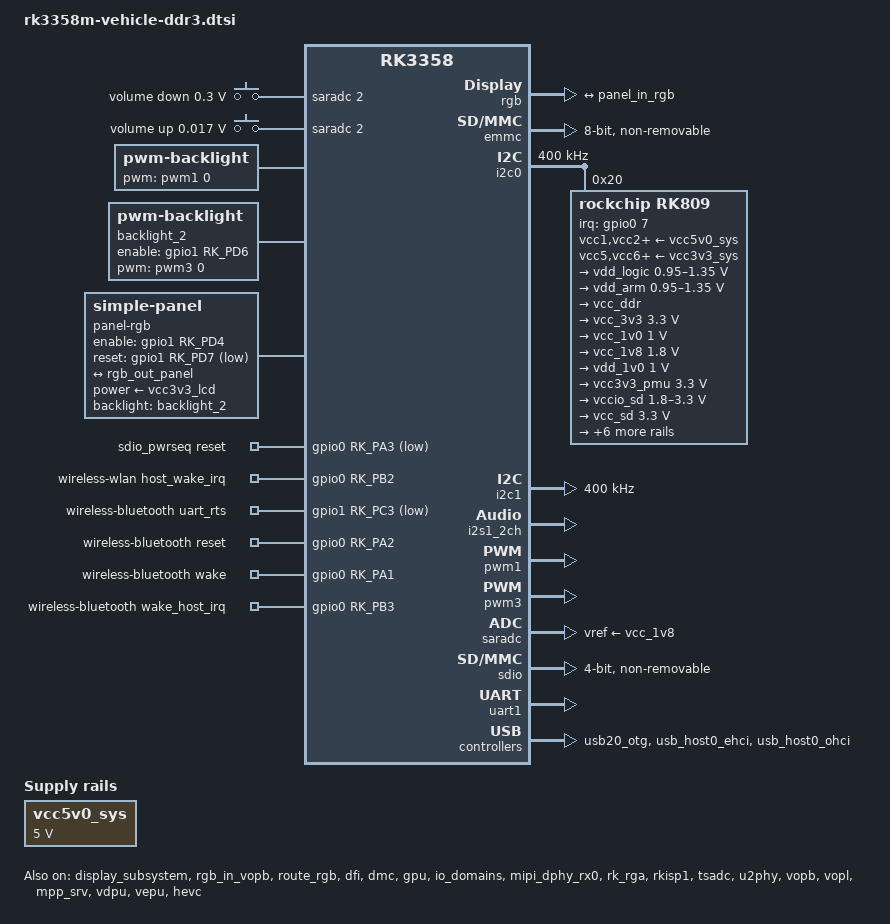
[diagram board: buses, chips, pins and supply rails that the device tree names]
// SPDX-License-Identifier: (GPL-2.0+ OR MIT)
/*
 * Copyright (c) 2022 Rockchip Electronics Co., Ltd
 *
 */

#include <dt-bindings/gpio/gpio.h>
#include <dt-bindings/pinctrl/rockchip.h>
#include <dt-bindings/input/input.h>
#include <dt-bindings/display/drm_mipi_dsi.h>
#include "rk3358.dtsi"

/ {
	adc-keys {
		compatible = "adc-keys";
		io-channels = <&saradc 2>;
		io-channel-names = "buttons";
		poll-interval = <100>;
		keyup-threshold-microvolt = <1800000>;

		vol-down-key {
			linux,code = <KEY_VOLUMEDOWN>;
			label = "volume down";
			press-threshold-microvolt = <300000>;
		};

		vol-up-key {
			linux,code = <KEY_VOLUMEUP>;
			label = "volume up";
			press-threshold-microvolt = <17000>;
		};
	};

	backlight: backlight {
		compatible = "pwm-backlight";
		pwms = <&pwm1 0 25000 0>;
		brightness-levels = <
			  0   1   2   3   4   5   6   7
			  8   9  10  11  12  13  14  15
			 16  17  18  19  20  21  22  23
			 24  25  26  27  28  29  30  31
			 32  33  34  35  36  37  38  39
			 40  41  42  43  44  45  46  47
			 48  49  50  51  52  53  54  55
			 56  57  58  59  60  61  62  63
			 64  65  66  67  68  69  70  71
			 72  73  74  75  76  77  78  79
			 80  81  82  83  84  85  86  87
			 88  89  90  91  92  93  94  95
			 96  97  98  99 100 101 102 103
			104 105 106 107 108 109 110 111
			112 113 114 115 116 117 118 119
			120 121 122 123 124 125 126 127
			128 129 130 131 132 133 134 135
			136 137 138 139 140 141 142 143
			144 145 146 147 148 149 150 151
			152 153 154 155 156 157 158 159
			160 161 162 163 164 165 166 167
			168 169 170 171 172 173 174 175
			176 177 178 179 180 181 182 183
			184 185 186 187 188 189 190 191
			192 193 194 195 196 197 198 199
			200 201 202 203 204 205 206 207
			208 209 210 211 212 213 214 215
			216 217 218 219 220 221 222 223
			224 225 226 227 228 229 230 231
			232 233 234 235 236 237 238 239
			240 241 242 243 244 245 246 247
			248 249 250 251 252 253 254 255>;
		default-brightness-level = <200>;
	};

	backlight_2: backlight-2 {
		compatible = "pwm-backlight";
		pwms = <&pwm3 0 10000000 0>;
		pinctrl-names = "default";
		pinctrl-0 = <&lcd0_pwren &lcd0_rst>;
		enable-gpios = <&gpio1 RK_PD6 GPIO_ACTIVE_HIGH>;
		brightness-levels = <
			  0   1   2   3   4   5   6   7
			  8   9  10  11  12  13  14  15
			 16  17  18  19  20  21  22  23
			 24  25  26  27  28  29  30  31
			 32  33  34  35  36  37  38  39
			 40  41  42  43  44  45  46  47
			 48  49  50  51  52  53  54  55
			 56  57  58  59  60  61  62  63
			 64  65  66  67  68  69  70  71
			 72  73  74  75  76  77  78  79
			 80  81  82  83  84  85  86  87
			 88  89  90  91  92  93  94  95
			 96  97  98  99 100 101 102 103
			104 105 106 107 108 109 110 111
			112 113 114 115 116 117 118 119
			120 121 122 123 124 125 126 127
			128 129 130 131 132 133 134 135
			136 137 138 139 140 141 142 143
			144 145 146 147 148 149 150 151
			152 153 154 155 156 157 158 159
			160 161 162 163 164 165 166 167
			168 169 170 171 172 173 174 175
			176 177 178 179 180 181 182 183
			184 185 186 187 188 189 190 191
			192 193 194 195 196 197 198 199
			200 201 202 203 204 205 206 207
			208 209 210 211 212 213 214 215
			216 217 218 219 220 221 222 223
			224 225 226 227 228 229 230 231
			232 233 234 235 236 237 238 239
			240 241 242 243 244 245 246 247
			248 249 250 251 252 253 254 255>;
		default-brightness-level = <60>;
	};

	/* The THine 827-Q (rgb to dual lvds) don't need driver */
	panel-rgb {
		compatible = "simple-panel";
		#address-cells = <1>;
		#size-cells = <0>;

		pinctrl-names = "default";
		pinctrl-0 = <&pwdn_rgb>; /* This the pwdn of THine-827-Q */
		power-supply = <&vcc3v3_lcd>;
		backlight = <&backlight_2>;
		enable-gpios = <&gpio1 RK_PD4 GPIO_ACTIVE_HIGH>;
		reset-gpios = <&gpio1 RK_PD7 GPIO_ACTIVE_LOW>;
		prepare-delay-ms = <0>;
		reset-delay-ms = <0>;
		init-delay-ms = <0>;
		enable-delay-ms = <5>;
		disable-delay-ms = <10>;
		unprepare-delay-ms = <0>;

		width-mm = <292>;
		height-mm = <109>;

		bus-format = <MEDIA_BUS_FMT_RGB888_1X24>;

		display-timings {
			native-mode = <&timing1>;

			timing1: timing1 {
				clock-frequency = <88200000>;
				hactive = <1920>;
				vactive = <720>;
				hfront-porch = <40>;
				hsync-len = <20>;
				hback-porch = <24>;
				vfront-porch = <5>;
				vsync-len = <4>;
				vback-porch = <4>;
				hsync-active = <0>;
				vsync-active = <0>;
				de-active = <0>;
				pixelclk-active = <0>;
			};
		};

		ports {
			#address-cells = <1>;
			#size-cells = <0>;

			port@0 {
				reg = <0>;
				panel_in_rgb: endpoint {
					remote-endpoint = <&rgb_out_panel>;
				};
			};
		};
	};


	rk809-sound {
		compatible = "simple-audio-card";
		simple-audio-card,format = "i2s";
		simple-audio-card,name = "rockchip,rk809-codec";
		simple-audio-card,mclk-fs = <256>;
		simple-audio-card,widgets =
			"Microphone", "Mic Jack",
			"Headphone", "Headphone Jack";
		simple-audio-card,routing =
			"Mic Jack", "MICBIAS1",
			"IN1P", "Mic Jack",
			"Headphone Jack", "HPOL",
			"Headphone Jack", "HPOR";
		simple-audio-card,cpu {
			sound-dai = <&i2s1_2ch>;
		};
		simple-audio-card,codec {
			sound-dai = <&rk809_codec>;
		};
	};

	sdio_pwrseq: sdio-pwrseq {
		compatible = "mmc-pwrseq-simple";
		pinctrl-names = "default";
		pinctrl-0 = <&wifi_enable_h>;

		/*
		 * On the module itself this is one of these (depending
		 * on the actual card populated):
		 * - SDIO_RESET_L_WL_REG_ON
		 * - PDN (power down when low)
		 */
		reset-gpios = <&gpio0 RK_PA3 GPIO_ACTIVE_LOW>;
	};

	vcc5v0_sys: vccsys {
		compatible = "regulator-fixed";
		regulator-name = "vcc5v0_sys";
		regulator-always-on;
		regulator-boot-on;
		regulator-min-microvolt = <5000000>;
		regulator-max-microvolt = <5000000>;
	};

	wireless-wlan {
		compatible = "wlan-platdata";
		wifi_chip_type = "AP6212";
		WIFI,host_wake_irq = <&gpio0 RK_PB2 GPIO_ACTIVE_HIGH>;
		status = "okay";
	};

	wireless-bluetooth {
		compatible = "bluetooth-platdata";
		clocks = <&rk809 1>;
		clock-names = "ext_clock";
		uart_rts_gpios = <&gpio1 RK_PC3 GPIO_ACTIVE_LOW>;
		pinctrl-names = "default","rts_gpio";
		pinctrl-0 = <&uart1_rts>;
		pinctrl-1 = <&uart1_rts_gpio>;
		BT,reset_gpio = <&gpio0 RK_PA2 GPIO_ACTIVE_HIGH>;
		BT,wake_gpio = <&gpio0 RK_PA1 GPIO_ACTIVE_HIGH>;
		BT,wake_host_irq = <&gpio0 RK_PB3 GPIO_ACTIVE_HIGH>;
		status = "okay";
	};
};

&display_subsystem {
	status = "okay";
};

&dsi {
	status = "disabled";

	panel@0 {
		compatible = "sitronix,st7703", "simple-panel-dsi";
		reg = <0>;

		pinctrl-names = "default";
		pinctrl-0 = <&mipi_en>;
		enable-gpios = <&gpio1 RK_PB4 GPIO_ACTIVE_HIGH>;

		backlight = <&backlight>;
		prepare-delay-ms = <0>;
		reset-delay-ms = <0>;
		init-delay-ms = <80>;
		enable-delay-ms = <0>;
		disable-delay-ms = <10>;
		unprepare-delay-ms = <60>;

		width-mm = <68>;
		height-mm = <121>;

		dsi,flags = <(MIPI_DSI_MODE_VIDEO | MIPI_DSI_MODE_VIDEO_BURST |
			      MIPI_DSI_MODE_LPM | MIPI_DSI_MODE_EOT_PACKET)>;
		dsi,format = <MIPI_DSI_FMT_RGB888>;
		dsi,lanes = <4>;

		panel-init-sequence = [
			39 00 04 ff 98 81 03
			15 00 02 01 00
			15 00 02 02 00
			15 00 02 03 53
			15 00 02 04 53
			15 00 02 05 13
			15 00 02 06 04
			15 00 02 07 02
			15 00 02 08 02
			15 00 02 09 00
			15 00 02 0a 00
			15 00 02 0b 00
			15 00 02 0c 00
			15 00 02 0d 00
			15 00 02 0e 00
			15 00 02 0f 00

			15 00 02 10 00
			15 00 02 11 00
			15 00 02 12 00
			15 00 02 13 00
			15 00 02 14 00
			15 00 02 15 08
			15 00 02 16 10
			15 00 02 17 00
			15 00 02 18 08
			15 00 02 19 00
			15 00 02 1a 00
			15 00 02 1b 00
			15 00 02 1c 00
			15 00 02 1d 00
			15 00 02 1e c0
			15 00 02 1f 80

			15 00 02 20 02
			15 00 02 21 09
			15 00 02 22 00
			15 00 02 23 00
			15 00 02 24 00
			15 00 02 25 00
			15 00 02 26 00
			15 00 02 27 00
			15 00 02 28 55
			15 00 02 29 03
			15 00 02 2a 00
			15 00 02 2b 00
			15 00 02 2c 00
			15 00 02 2d 00
			15 00 02 2e 00
			15 00 02 2f 00

			15 00 02 30 00
			15 00 02 31 00
			15 00 02 32 00
			15 00 02 33 00
			15 00 02 34 04
			15 00 02 35 05
			15 00 02 36 05
			15 00 02 37 00
			15 00 02 38 3c
			15 00 02 39 35
			15 00 02 3a 00
			15 00 02 3b 40
			15 00 02 3c 00
			15 00 02 3d 00
			15 00 02 3e 00
			15 00 02 3f 00

			15 00 02 40 00
			15 00 02 41 88
			15 00 02 42 00
			15 00 02 43 00
			15 00 02 44 1f

			15 00 02 50 01
			15 00 02 51 23
			15 00 02 52 45
			15 00 02 53 67
			15 00 02 54 89
			15 00 02 55 ab
			15 00 02 56 01
			15 00 02 57 23
			15 00 02 58 45
			15 00 02 59 67
			15 00 02 5a 89
			15 00 02 5b ab
			15 00 02 5c cd
			15 00 02 5d ef
			15 00 02 5e 03
			15 00 02 5f 14

			15 00 02 60 15
			15 00 02 61 0c
			15 00 02 62 0d
			15 00 02 63 0e
			15 00 02 64 0f
			15 00 02 65 10
			15 00 02 66 11
			15 00 02 67 08
			15 00 02 68 02
			15 00 02 69 0a
			15 00 02 6a 02
			15 00 02 6b 02
			15 00 02 6c 02
			15 00 02 6d 02
			15 00 02 6e 02
			15 00 02 6f 02

			15 00 02 70 02
			15 00 02 71 02
			15 00 02 72 06
			15 00 02 73 02
			15 00 02 74 02
			15 00 02 75 14
			15 00 02 76 15
			15 00 02 77 0f
			15 00 02 78 0e
			15 00 02 79 0d
			15 00 02 7a 0c
			15 00 02 7b 11
			15 00 02 7c 10
			15 00 02 7d 06
			15 00 02 7e 02
			15 00 02 7f 0a

			15 00 02 80 02
			15 00 02 81 02
			15 00 02 82 02
			15 00 02 83 02
			15 00 02 84 02
			15 00 02 85 02
			15 00 02 86 02
			15 00 02 87 02
			15 00 02 88 08
			15 00 02 89 02
			15 00 02 8a 02

			39 00 04 ff 98 81 04
			15 00 02 00 80
			15 00 02 70 00
			15 00 02 71 00
			15 00 02 66 fe
			15 00 02 82 15
			15 00 02 84 15
			15 00 02 85 15
			15 00 02 3a 24
			15 00 02 32 ac
			15 00 02 8c 80
			15 00 02 3c f5
			15 00 02 88 33

			39 00 04 ff 98 81 01
			15 00 02 22 0a
			15 00 02 31 00
			15 00 02 53 78
			15 00 02 50 5b
			15 00 02 51 5b
			15 00 02 60 20
			15 00 02 61 00
			15 00 02 62 0d
			15 00 02 63 00

			15 00 02 a0 00
			15 00 02 a1 10
			15 00 02 a2 1c
			15 00 02 a3 13
			15 00 02 a4 15
			15 00 02 a5 26
			15 00 02 a6 1a
			15 00 02 a7 1d
			15 00 02 a8 67
			15 00 02 a9 1c
			15 00 02 aa 29
			15 00 02 ab 5b
			15 00 02 ac 26
			15 00 02 ad 28
			15 00 02 ae 5c
			15 00 02 af 30
			15 00 02 b0 31
			15 00 02 b1 2e
			15 00 02 b2 32
			15 00 02 b3 00

			15 00 02 c0 00
			15 00 02 c1 10
			15 00 02 c2 1c
			15 00 02 c3 13
			15 00 02 c4 15
			15 00 02 c5 26
			15 00 02 c6 1a
			15 00 02 c7 1d
			15 00 02 c8 67
			15 00 02 c9 1c
			15 00 02 ca 29
			15 00 02 cb 5b
			15 00 02 cc 26
			15 00 02 cd 28
			15 00 02 ce 5c
			15 00 02 cf 30
			15 00 02 d0 31
			15 00 02 d1 2e
			15 00 02 d2 32
			15 00 02 d3 00
			39 00 04 ff 98 81 00
			05 00 01 11
			05 01 01 29
		];

		panel-exit-sequence = [
			05 00 01 28
			05 00 01 10
		];

		display-timings {
			native-mode = <&timing0>;

			timing0: timing0 {
				clock-frequency = <64000000>;
				hactive = <720>;
				vactive = <1280>;
				hfront-porch = <40>;
				hsync-len = <10>;
				hback-porch = <40>;
				vfront-porch = <22>;
				vsync-len = <4>;
				vback-porch = <11>;
				hsync-active = <0>;
				vsync-active = <0>;
				de-active = <0>;
				pixelclk-active = <0>;
			};
		};

		ports {
			#address-cells = <1>;
			#size-cells = <0>;

			port@0 {
				reg = <0>;
				panel_in_dsi: endpoint {
					remote-endpoint = <&dsi_out_panel>;
				};
			};
		};
	};

	ports {
		#address-cells = <1>;
		#size-cells = <0>;

		port@1 {
			reg = <1>;
			dsi_out_panel: endpoint {
				remote-endpoint = <&panel_in_dsi>;
			};
		};
	};
};

&dsi_in_vopb {
	status = "disabled";
};

&dsi_in_vopl {
	status = "disabled";
};

&route_dsi {
	connect = <&vopb_out_dsi>;
	status = "disabled";
};

&rgb {
	status = "okay";
	#address-cells = <1>;
	#size-cells = <0>;

	/delete-property/ phys;
	/delete-property/ phy-names;

	pinctrl-0 = <&lcdc_m0_rgb_pins>;
	pinctrl-1 = <&lcdc_m0_sleep_pins>;

	ports {
		port@1 {
			reg = <1>;

			rgb_out_panel: endpoint {
				remote-endpoint = <&panel_in_rgb>;
			};
		};
	};
};

&rgb_in_vopb {
	status = "okay";
};

&rgb_in_vopl {
	status = "disabled";
};

&route_rgb {
	connect = <&vopb_out_rgb>;
	status = "okay";
};

&cpu0 {
	cpu-supply = <&vdd_arm>;
};

&dfi {
	status = "okay";
};

&dmc {
	center-supply = <&vdd_logic>;
	status = "okay";
};

&emmc {
	bus-width = <8>;
	cap-mmc-highspeed;
	mmc-hs200-1_8v;
	supports-emmc;
	disable-wp;
	non-removable;
	num-slots = <1>;
	status = "okay";
};

&gpu {
	mali-supply = <&vdd_logic>;
	status = "okay";
};

&i2c0 {
	status = "okay";
	clock-frequency = <400000>;

	rk809: pmic@20 {
		compatible = "rockchip,rk809";
		reg = <0x20>;
		interrupt-parent = <&gpio0>;
		interrupts = <7 IRQ_TYPE_LEVEL_LOW>;
		pinctrl-names = "default", "pmic-sleep",
				"pmic-power-off", "pmic-reset";
		pinctrl-0 = <&pmic_int>;
		pinctrl-1 = <&soc_slppin_slp>, <&rk817_slppin_slp>;
		pinctrl-2 = <&soc_slppin_gpio>, <&rk817_slppin_pwrdn>;
		pinctrl-3 = <&soc_slppin_rst>, <&rk817_slppin_rst>;
		rockchip,system-power-controller;
		wakeup-source;
		#clock-cells = <1>;
		clock-output-names = "rk808-clkout1", "rk808-clkout2";
		//fb-inner-reg-idxs = <2>;
		/* 1: rst regs (default in codes), 0: rst the pmic */
		pmic-reset-func = <1>;

		vcc1-supply = <&vcc5v0_sys>;
		vcc2-supply = <&vcc5v0_sys>;
		vcc3-supply = <&vcc5v0_sys>;
		vcc4-supply = <&vcc5v0_sys>;
		vcc5-supply = <&vcc3v3_sys>;
		vcc6-supply = <&vcc3v3_sys>;
		vcc7-supply = <&vcc3v3_sys>;
		vcc8-supply = <&vcc3v3_sys>;
		vcc9-supply = <&vcc5v0_sys>;

		pwrkey {
			status = "okay";
		};

		pinctrl_rk8xx: pinctrl_rk8xx {
			gpio-controller;
			#gpio-cells = <2>;

			rk817_slppin_null: rk817_slppin_null {
				pins = "gpio_slp";
				function = "pin_fun0";
			};

			rk817_slppin_slp: rk817_slppin_slp {
				pins = "gpio_slp";
				function = "pin_fun1";
			};

			rk817_slppin_pwrdn: rk817_slppin_pwrdn {
				pins = "gpio_slp";
				function = "pin_fun2";
			};

			rk817_slppin_rst: rk817_slppin_rst {
				pins = "gpio_slp";
				function = "pin_fun3";
			};
		};

		regulators {
			vdd_logic: DCDC_REG1 {
				regulator-always-on;
				regulator-boot-on;
				regulator-min-microvolt = <950000>;
				regulator-max-microvolt = <1350000>;
				regulator-ramp-delay = <6001>;
				regulator-initial-mode = <0x2>;
				regulator-name = "vdd_logic";
				regulator-state-mem {
					regulator-on-in-suspend;
					regulator-suspend-microvolt = <950000>;
				};
			};

			vdd_arm: DCDC_REG2 {
				regulator-always-on;
				regulator-boot-on;
				regulator-min-microvolt = <950000>;
				regulator-max-microvolt = <1350000>;
				regulator-ramp-delay = <6001>;
				regulator-initial-mode = <0x2>;
				regulator-name = "vdd_arm";
				regulator-state-mem {
					regulator-off-in-suspend;
					regulator-suspend-microvolt = <950000>;
				};
			};

			vcc_ddr: DCDC_REG3 {
				regulator-always-on;
				regulator-boot-on;
				regulator-name = "vcc_ddr";
				regulator-initial-mode = <0x2>;
				regulator-state-mem {
					regulator-on-in-suspend;
				};
			};

			vcc_3v3: DCDC_REG4 {
				regulator-always-on;
				regulator-boot-on;
				regulator-min-microvolt = <3300000>;
				regulator-max-microvolt = <3300000>;
				regulator-initial-mode = <0x2>;
				regulator-name = "vcc_3v3";
				regulator-state-mem {
					regulator-on-in-suspend;
					regulator-suspend-microvolt = <3300000>;
				};
			};

			vcc_1v0: LDO_REG1 {
				regulator-always-on;
				regulator-boot-on;
				regulator-min-microvolt = <1000000>;
				regulator-max-microvolt = <1000000>;
				regulator-name = "vcc_1v0";
				regulator-state-mem {
					regulator-on-in-suspend;
					regulator-suspend-microvolt = <1000000>;
				};
			};

			vcc_1v8: LDO_REG2 {
				regulator-always-on;
				regulator-boot-on;
				regulator-min-microvolt = <1800000>;
				regulator-max-microvolt = <1800000>;

				regulator-name = "vcc_1v8";
				regulator-state-mem {
					regulator-on-in-suspend;
					regulator-suspend-microvolt = <1800000>;
				};
			};

			vdd_1v0: LDO_REG3 {
				regulator-always-on;
				regulator-boot-on;
				regulator-min-microvolt = <1000000>;
				regulator-max-microvolt = <1000000>;

				regulator-name = "vdd_1v0";
				regulator-state-mem {
					regulator-on-in-suspend;
					regulator-suspend-microvolt = <1000000>;
				};
			};

			vcc3v3_pmu: LDO_REG4 {
				regulator-always-on;
				regulator-boot-on;
				regulator-min-microvolt = <3300000>;
				regulator-max-microvolt = <3300000>;

				regulator-name = "vcc3v3_pmu";
				regulator-state-mem {
					regulator-on-in-suspend;
					regulator-suspend-microvolt = <3000000>;

				};
			};

			vccio_sd: LDO_REG5 {
				regulator-always-on;
				regulator-boot-on;
				regulator-min-microvolt = <1800000>;
				regulator-max-microvolt = <3300000>;

				regulator-name = "vccio_sd";
				regulator-state-mem {
					regulator-on-in-suspend;
					regulator-suspend-microvolt = <3300000>;
				};
			};

			vcc_sd: LDO_REG6 {
				regulator-min-microvolt = <3300000>;
				regulator-max-microvolt = <3300000>;
				regulator-boot-off;

				regulator-name = "vcc_sd";
				regulator-state-mem {
					regulator-off-in-suspend;
					regulator-suspend-microvolt = <3300000>;

				};
			};

			vcc2v8_dvp: LDO_REG7 {
				regulator-boot-on;
				regulator-min-microvolt = <2800000>;
				regulator-max-microvolt = <2800000>;

				regulator-name = "vcc2v8_dvp";
				regulator-state-mem {
					regulator-off-in-suspend;
					regulator-suspend-microvolt = <2800000>;
				};
			};

			vcc1v8_dvp: LDO_REG8 {
				regulator-boot-on;
				regulator-min-microvolt = <1800000>;
				regulator-max-microvolt = <1800000>;

				regulator-name = "vcc1v8_dvp";
				regulator-state-mem {
					regulator-on-in-suspend;
					regulator-suspend-microvolt = <1800000>;
				};
			};

			vdd1v5_dvp: LDO_REG9 {
				regulator-boot-on;
				regulator-min-microvolt = <1500000>;
				regulator-max-microvolt = <1500000>;

				regulator-name = "vdd1v5_dvp";
				regulator-state-mem {
					regulator-off-in-suspend;
					regulator-suspend-microvolt = <1500000>;
				};
			};

			vcc3v3_sys: DCDC_REG5 {
				regulator-always-on;
				regulator-boot-on;
				regulator-min-microvolt = <3300000>;
				regulator-max-microvolt = <3300000>;
				regulator-name = "vcc3v3_sys";
				regulator-state-mem {
					regulator-on-in-suspend;
					regulator-suspend-microvolt = <3300000>;
				};
			};

			vcc5v0_host: SWITCH_REG1 {
				regulator-always-on;
				regulator-boot-on;
				regulator-name = "vcc5v0_host";
			};

			vcc3v3_lcd: SWITCH_REG2 {
				regulator-boot-on;
				regulator-name = "vcc3v3_lcd";
			};
		};

		rk809_codec: codec {
			#sound-dai-cells = <0>;
			compatible = "rockchip,rk809-codec", "rockchip,rk817-codec";
			clocks = <&cru SCLK_I2S1_OUT>;
			clock-names = "mclk";
			pinctrl-names = "default";
			pinctrl-0 = <&i2s1_2ch_mclk>;
			hp-volume = <20>;
			spk-volume = <3>;
			status = "okay";
		};
	};
};

&i2c1 {
	status = "okay";

	clock-frequency = <400000>;

	/* These are relatively safe rise/fall times; TODO: measure */
	i2c-scl-falling-time-ns = <50>;
	i2c-scl-rising-time-ns = <300>;
};

&i2s1_2ch {
	status = "okay";
	#sound-dai-cells = <0>;
};

&io_domains {
	status = "okay";

	vccio1-supply = <&vcc_3v3>;
	vccio2-supply = <&vcc_3v3>;
	vccio3-supply = <&vcc_3v3>;
	vccio4-supply = <&vcc3v3_pmu>;
	vccio5-supply = <&vcc_1v8>;
};

&isp_mmu {
	status = "okay";
};

&mipi_dphy_rx0 {
	status = "okay";

	ports {
		#address-cells = <1>;
		#size-cells = <0>;

		port@0 {
			reg = <0>;
			#address-cells = <1>;
			#size-cells = <0>;

			mipi_in_ucam: endpoint@1 {
				reg = <1>;
			//	remote-endpoint = <&ucam_out>;
				data-lanes = <1 2>;
			};
		};

		port@1 {
			reg = <1>;
			#address-cells = <1>;
			#size-cells = <0>;

			dphy_rx0_out: endpoint@0 {
				reg = <0>;
				remote-endpoint = <&isp0_mipi_in>;
			};
		};
	};
};

&pmu_io_domains {
	status = "okay";

	pmuio1-supply = <&vcc3v3_pmu>;
	pmuio2-supply = <&vcc3v3_pmu>;
};

&pwm1 {
	status = "okay";
};

&pwm3 {
	status = "okay";
};

&rk_rga {
	status = "okay";
};

&rkisp1 {
	status = "okay";

	port {
		#address-cells = <1>;
		#size-cells = <0>;

		isp0_mipi_in: endpoint@0 {
			reg = <0>;
			remote-endpoint = <&dphy_rx0_out>;
		};
	};
};

&saradc {
	status = "okay";
	vref-supply = <&vcc_1v8>;
};

&sdio {
	bus-width = <4>;
	cap-sd-highspeed;
	supports-sdio;
	ignore-pm-notify;
	keep-power-in-suspend;
	non-removable;
	mmc-pwrseq = <&sdio_pwrseq>;
	sd-uhs-sdr104;
	status = "okay";
};

&tsadc {
	pinctrl-names = "gpio", "otpout";
	pinctrl-0 = <&tsadc_otp_gpio>;
	pinctrl-1 = <&tsadc_otp_out>;
	status = "okay";
};

&uart1 {
	pinctrl-names = "default";
	pinctrl-0 = <&uart1_xfer &uart1_cts>;
	status = "okay";
};

&u2phy {
	status = "okay";

	u2phy_host: host-port {
		status = "okay";
		phy-supply = <&vcc5v0_host>;
	};

	u2phy_otg: otg-port {
		status = "okay";
	};
};

&usb20_otg {
	status = "okay";
};

&usb_host0_ehci {
	status = "okay";
};

&usb_host0_ohci {
	status = "okay";
};

&vopb {
	status = "okay";
};

&vopb_mmu {
	status = "okay";
};

&vopl {
	status = "okay";
};

&vopl_mmu {
	status = "okay";
};

&mpp_srv {
	status = "okay";
};

&vdpu {
	status = "okay";
};

&vepu {
	status = "okay";
};

&vpu_mmu {
	status = "okay";
};

&hevc {
	status = "okay";
};

&hevc_mmu {
	status = "okay";
};

&pinctrl {
	lcd {
		lcd0_pwren: lcd0-pwren {
			rockchip,pins = <1 RK_PD6 RK_FUNC_GPIO &pcfg_output_high>;
		};
		lcd0_rst: lcd0-rst {
			rockchip,pins = <1 RK_PD7 RK_FUNC_GPIO &pcfg_output_high>;
		};
		mipi_en: mipi-en {
			rockchip,pins = <2 RK_PB4 RK_FUNC_GPIO &pcfg_output_high>;
		};
		pwdn_rgb: pwdn-rgb {
			rockchip,pins = <1 RK_PD4 RK_FUNC_GPIO &pcfg_output_high>;
		};
	};

	pmic {
		pmic_int: pmic_int {
			rockchip,pins =
				<0 RK_PA7 RK_FUNC_GPIO &pcfg_pull_up>;
		};

		soc_slppin_gpio: soc_slppin_gpio {
			rockchip,pins =
				<0 RK_PA4 RK_FUNC_GPIO &pcfg_output_low>;
		};

		soc_slppin_slp: soc_slppin_slp {
			rockchip,pins =
				<0 RK_PA4 1 &pcfg_pull_none>;
		};

		soc_slppin_rst: soc_slppin_rst {
			rockchip,pins =
				<0 RK_PA4 2 &pcfg_pull_none>;
		};
	};

	sdio-pwrseq {
		wifi_enable_h: wifi-enable-h {
			rockchip,pins = <0 RK_PA3 RK_FUNC_GPIO &pcfg_pull_none>;
		};
	};
};
